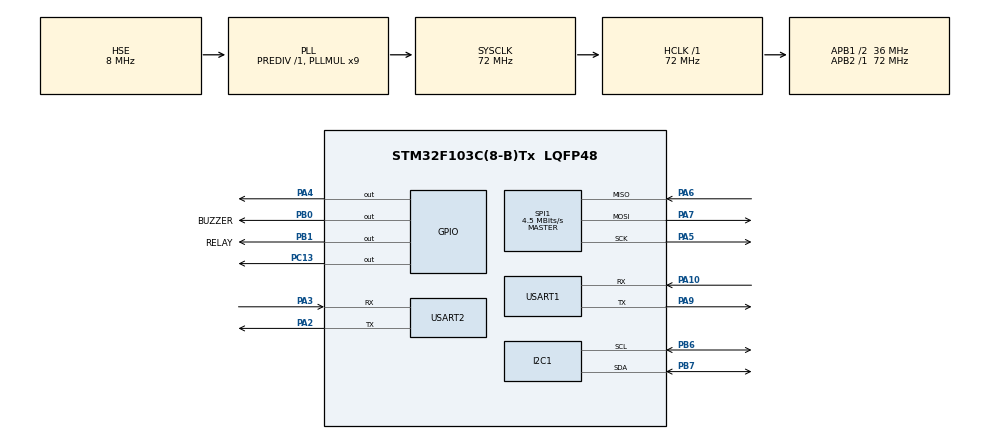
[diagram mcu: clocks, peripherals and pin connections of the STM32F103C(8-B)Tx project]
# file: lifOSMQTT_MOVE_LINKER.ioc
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Mcu.Family=STM32F1
Mcu.Name=STM32F103C(8-B)Tx
Mcu.Package=LQFP48
NVIC.PriorityGroup=NVIC_PRIORITYGROUP_4
NVIC.TIM1_UP_IRQn=true\:0\:0\:false\:false\:true\:true\:true\:true
NVIC.TIM2_IRQn=true\:0\:0\:false\:false\:true\:true\:true\:true
NVIC.USART1_IRQn=true\:0\:0\:false\:false\:true\:true\:true\:true
PA10.Mode=Asynchronous
PA10.Signal=USART1_RX
PA13.Mode=Serial_Wire
PA13.Signal=SYS_JTMS-SWDIO
PA14.Mode=Serial_Wire
PA14.Signal=SYS_JTCK-SWCLK
PA2.Mode=Asynchronous
PA2.Signal=USART2_TX
PA3.Mode=Asynchronous
PA3.Signal=USART2_RX
PA4.Signal=GPIO_Output
PA5.Mode=Full_Duplex_Master
PA5.Signal=SPI1_SCK
PA6.Mode=Full_Duplex_Master
PA6.Signal=SPI1_MISO
PA7.Mode=Full_Duplex_Master
PA7.Signal=SPI1_MOSI
PA9.Mode=Asynchronous
PA9.Signal=USART1_TX
PB0.GPIO_Label=BUZZER
PB0.Signal=GPIO_Output
PB1.GPIO_Label=RELAY
PB1.Signal=GPIO_Output
PB6.Mode=I2C
PB6.Signal=I2C1_SCL
PB7.Mode=I2C
PB7.Signal=I2C1_SDA
PC13-TAMPER-RTC.Signal=GPIO_Output
PD0-OSC_IN.Mode=HSE-External-Oscillator
PD0-OSC_IN.Signal=RCC_OSC_IN
PD1-OSC_OUT.Mode=HSE-External-Oscillator
PD1-OSC_OUT.Signal=RCC_OSC_OUT
ProjectManager.HeapSize=0x200
ProjectManager.StackSize=0x400
ProjectManager.TargetToolchain=STM32CubeIDE
RCC.AHBFreq_Value=72000000
RCC.APB1CLKDivider=RCC_HCLK_DIV2
RCC.APB1Freq_Value=36000000
RCC.APB1TimFreq_Value=72000000
RCC.APB2Freq_Value=72000000
RCC.APB2TimFreq_Value=72000000
RCC.HCLKFreq_Value=72000000
RCC.PLLMUL=RCC_PLL_MUL9
RCC.PLLSourceVirtual=RCC_PLLSOURCE_HSE
RCC.SYSCLKFreq_VALUE=72000000
RCC.SYSCLKSource=RCC_SYSCLKSOURCE_PLLCLK
RCC.USBFreq_Value=72000000
SPI1.BaudRatePrescaler=SPI_BAUDRATEPRESCALER_16
SPI1.CalculateBaudRate=4.5 MBits/s
SPI1.Direction=SPI_DIRECTION_2LINES
SPI1.Mode=SPI_MODE_MASTER
SPI1.VirtualType=VM_MASTER
TIM1.Period=7999
TIM1.Prescaler=719
TIM2.Period=7999
TIM2.Prescaler=7199
USART1.VirtualMode=VM_ASYNC
USART2.VirtualMode=VM_ASYNC
VP_TIM1_VS_ClockSourceINT.Mode=Internal
VP_TIM2_VS_ClockSourceINT.Mode=Internal
board=custom

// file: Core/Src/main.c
/* USER CODE BEGIN Header */
/**
  ******************************************************************************
  * @file           : main.c
  * @brief          : Main program body
  ******************************************************************************
  * @attention
  *
  * Copyright (c) 2023 STMicroelectronics.
  * All rights reserved.
  *
  * This software is licensed under terms that can be found in the LICENSE file
  * in the root directory of this software component.
  * If no LICENSE file comes with this software, it is provided AS-IS.
  *
  ******************************************************************************
  */
/* USER CODE END Header */
#include "main.h"

/* USER CODE BEGIN Includes */
#include "liquidcrystal_i2c.h"
#include "rc522.h"
#include "stdio.h"
#include <string.h>
#include <stdlib.h>
#include "switchSounds.h"
#include "quectelCommands.h"
#include "GEOtextLib.h"
#include "variables.h"
/* USER CODE END Includes */

/* USER CODE BEGIN PTD */
#define versionAdress 0x0800BFF0
#define resetAddress 0x08000000
#define currentTerminalADRR 0x0800B000
#define STR_HELPER(x) #x
#define STR(x) STR_HELPER(x)

unsigned long T,timer, counter;
int check = 1;
int l;
int temp = 0;
int LENGTH = 0;
uint8_t TIM_Count = 0;
uint8_t TIM_Count1 = 0;
uint8_t timeOK = 0;

uint8_t c;
uint8_t readSatus=0;
uint8_t postData[255];
uint8_t *P;
uint8_t data[50];
uint8_t buffer[128];
uint8_t buffer1[128];
uint8_t MQTT_CHECK_DATA[100];
int count = 0;

uint32_t version;
uint64_t terminalID;
char * terminalStr;
/* USER CODE END PTD */

I2C_HandleTypeDef hi2c1;

SPI_HandleTypeDef hspi1;

TIM_HandleTypeDef htim1;
TIM_HandleTypeDef htim2;

UART_HandleTypeDef huart1;
UART_HandleTypeDef huart2;

void SystemClock_Config(void);
static void MX_GPIO_Init(void);
static void MX_I2C1_Init(void);
static void MX_SPI1_Init(void);
static void MX_USART1_UART_Init(void);
static void MX_USART2_UART_Init(void);
static void MX_TIM1_Init(void);
static void MX_TIM2_Init(void);
/* USER CODE BEGIN PFP */
void HAL_UART_RxCpltCallback(UART_HandleTypeDef *huart)
{

	if(count >= 124){
		count = 0;
	}

	if(buffer[count] != '!'){

		count++;
		HAL_UART_Receive_IT(&huart1, &buffer[count], 1);

	}
	else{
		readSatus = 1;
	}

}

void HAL_TIM_PeriodElapsedCallback(TIM_HandleTypeDef *htim)
{
	if (htim->Instance == TIM1) {
		if(TIM_Count>5){
			TIM_Count = 0;
			HAL_TIM_Base_Stop_IT(&htim1);

		}
		else{
			HAL_GPIO_TogglePin(BUZZER_GPIO_Port, BUZZER_Pin);
			TIM_Count++;
		}

	}
//	if (htim->Instance == TIM2) {
//		if(TIM_Count1>1){
//			TIM_Count1 = 0;
//			HAL_TIM_Base_Stop_IT(&htim2);
//
//		}
//		else{
//			HAL_GPIO_TogglePin(RELAY_GPIO_Port, RELAY_Pin);
//			TIM_Count1++;
//		}
//
//	}

}

void reloadSoundTIM(){
	TIM_Count = 0;
	HAL_TIM_Base_Start_IT(&htim1);
}
void reloadRelayTIM(){
	TIM_Count1 = 0;
	HAL_TIM_Base_Start_IT(&htim2);
}
/* USER CODE END PFP */

/* USER CODE BEGIN 0 */
uint8_t MFRC522_Check(uint8_t *id);
uint8_t MFRC522_Compare(uint8_t *CardID, uint8_t *CompareID);
void MFRC522_WriteRegister(uint8_t addr, uint8_t val);
uint8_t MFRC522_ReadRegister(uint8_t addr);
void MFRC522_SetBitMask(uint8_t reg, uint8_t mask);
void MFRC522_ClearBitMask(uint8_t reg, uint8_t mask);
uint8_t MFRC522_Request(uint8_t reqMode, uint8_t *TagType);
uint8_t MFRC522_ToCard(uint8_t command, uint8_t *sendData, uint8_t sendLen,
		uint8_t *backData, uint16_t *backLen);
uint8_t MFRC522_Anticoll(uint8_t *serNum);
void MFRC522_CalulateCRC(uint8_t *pIndata, uint8_t len, uint8_t *pOutData);
uint8_t MFRC522_SelectTag(uint8_t *serNum);
uint8_t MFRC522_Auth(uint8_t authMode, uint8_t BlockAddr, uint8_t *Sectorkey,
		uint8_t *serNum);
uint8_t MFRC522_Read(uint8_t blockAddr, uint8_t *recvData);
uint8_t MFRC522_Write(uint8_t blockAddr, uint8_t *writeData);
void MFRC522_Init(void);
void MFRC522_Reset(void);
void MFRC522_AntennaOn(void);
void MFRC522_AntennaOff(void);
void MFRC522_Halt(void);
void cardOperation(uint8_t* finalData, uint8_t* p);
void led(uint8_t n);
void readCardData(uint8_t* finalData);
uint8_t cardOperationWithBlockedSector(uint8_t* finalData);

/* USER CODE END 0 */

int main(void)
{
  /* USER CODE BEGIN 1 */
	__disable_irq();
	SCB->VTOR = 0x800C000;
	__enable_irq();
  /* USER CODE END 1 */

  /* MCU Configuration--------------------------------------------------------*/

  /* Reset of all peripherals, Initializes the Flash interface and the Systick. */
  HAL_Init();

  /* Configure the system clock */
  SystemClock_Config();

  /* Initialize all configured peripherals */
  MX_GPIO_Init();
  MX_I2C1_Init();
  MX_SPI1_Init();
  MX_USART1_UART_Init();
  MX_USART2_UART_Init();
  MX_TIM1_Init();
  MX_TIM2_Init();
  /* USER CODE BEGIN 2 */
  HD44780_Init(2);

  MFRC522_Init();

	uint8_t cardRead = 0;
	int CardTime;

    version = *(__IO uint32_t *)versionAdress; // for version check
  	terminalID = *(uint64_t *)currentTerminalADRR;
  	terminalStr = convertNumberToCharArray(terminalID);

    sprintf((char*) MQTT_CHECK_DATA, "{\"operationType\":\"check\",\"content\":{\"terminalID\":\"%s\",\"firmwareVersion\":%ld}}",terminalStr, version);

  	HAL_UART_Receive_IT(&huart1, &buffer[count], 1);
  	T = HAL_GetTick();
  	 printMiadetBarati(0, 2);
  	 led(1);
  /* USER CODE END 2 */

  /* Infinite loop */
  /* USER CODE BEGIN WHILE */
  while (1)
  {
	  if(cardRead == 1){
		  if(HAL_GetTick() - CardTime >= 20000){
			  printShecdoma(0, 4);
			  HAL_Delay(3000);
			  printMiadetBarati(0, 2);
			  cardRead = 0;

		  }

	  }
	  if(HAL_GetTick() - counter >= 1000){
		  HAL_GPIO_WritePin(RELAY_GPIO_Port, RELAY_Pin, 0);
	  }
	  if(HAL_GetTick() - T >= 2*(60000) && cardRead == 0){

		  if(temp >= check)jumpToAddress(resetAddress); //restart
		  MQTTPubToTopic(strlen((char*)MQTT_CHECK_DATA));
		  HAL_UART_Transmit(&huart1, MQTT_CHECK_DATA, strlen((char*)MQTT_CHECK_DATA), 50);
		  T = HAL_GetTick();
		  temp = check;
	  }

	  if(readSatus){
		  int Status = takeStatus(buffer, count);
		  uint8_t dispData[50];

		  switch(Status){
		  	  	case 202:
		  	  		//HAL_GPIO_TogglePin(GPIOB, RELAY_Pin);
		  	  		//AppruveSound();
		  	  	    HAL_GPIO_WritePin(RELAY_GPIO_Port, RELAY_Pin, 1);

		  	  	    counter = HAL_GetTick();

		  	  	    HAL_TIM_Base_Start_IT(&htim1);
		  	  	    prinWarmateba(0, 3);
		  	  		insert(postData);
		  	  		LENGTH = strlen((char*)postData);
					MQTTPubToTopic(LENGTH);
					HAL_Delay(50);
					HAL_UART_Transmit(&huart1, postData, LENGTH, 10);
		  	  		break;
		  	  	case 200:
		  	  		//AppruveSound();
		  	  		check++;
		  	  		break;
		  	  	case 201:
		  	  		//HAL_GPIO_TogglePin(GPIOB, RELAY_Pin);

					takeData(buffer, count, dispData);
					printBalansi(0, 0);
					HD44780_PrintStr((char*) dispData);
					HAL_Delay(1000);
					HAL_GPIO_WritePin(RELAY_GPIO_Port, RELAY_Pin, 0);
					HAL_Delay(1000);
					printMiadetBarati(0, 2);
					cardRead = 0;
					memset(postData, 0, sizeof(postData));
					break;
				case 293:

					//takeData(buffer, count, dispData);
					HD44780_Clear();
					HD44780_SetCursor(0, 0);
					printUcxoBaratia(0,0);
					ErrorSound();
					HAL_Delay(1000);
					printMiadetBarati(0, 2);
					cardRead = 0;
					break;
				case 291:
					//takeData(buffer, count, dispData);
					HD44780_Clear();
					HD44780_SetCursor(0, 0);
					printBlansiAraa(0, 0);
					ErrorSound();
					HAL_Delay(1000);
					printMiadetBarati(0, 2);
					cardRead = 0;
					break;
				case 296:
					//takeData(buffer, count, dispData);
					HD44780_Clear();
					HD44780_SetCursor(0, 0);
					HD44780_PrintStr((char*) dispData);
					ErrorSound();
					HAL_Delay(3000);
					printMiadetBarati(0, 2);
					cardRead = 0;
					break;
				case 297:
					//takeData(buffer, count, dispData);
					HD44780_Clear();
					HD44780_SetCursor(0, 0);
					HD44780_PrintStr((char*) dispData);
					ErrorSound();
					HAL_Delay(3000);
					printMiadetBarati(0, 2);
					cardRead = 0;
					break;
				case 299:
					//takeData(buffer, count, dispData);
					HD44780_Clear();
					HD44780_SetCursor(0, 0);
					HD44780_PrintStr((char*) dispData);
					ErrorSound();
					HAL_Delay(3000);
					printMiadetBarati(0, 2);
					cardRead = 0;
					break;
				default:
					memset(buffer, 0, sizeof(buffer));
				    memset(dispData, 0, sizeof(dispData));
					readSatus = 0;
					count = 0;
					printMiadetBarati(0, 2);
					cardRead = 0;

		  }
		  memset(buffer, 0, sizeof(buffer));
		  memset(dispData, 0, sizeof(dispData));
		  readSatus = 0;
		  count = 0;
		  HAL_UART_Receive_IT(&huart1, &buffer[count], 1);
		 }

	 uint8_t catStat = cardOperationWithBlockedSector(postData);
	 if(catStat == 1 && cardRead == 0){
		 uint8_t bpundCount = 0;
		 uint8_t postEnable = 0;

		 LENGTH = strlen((char*)postData);

		 for(int i = 0; i< LENGTH+5; i++){

			 if(postData[i]== '{' || postData[i] == '}'){
				 bpundCount++;
			 }

		 }
		 if(bpundCount != 4){
		 	postEnable = 1;
		 	memset(postData, 0, sizeof(postData));
		  }

		 if(postEnable == 0){
			 CardReadSound();
			 printDaicadet(0, 3);
			 MQTTPubToTopic(LENGTH);
			 HAL_Delay(50);

			 HAL_UART_Transmit(&huart1, postData, LENGTH, 100);

			 cardRead = 1;
			 CardTime = HAL_GetTick();
		 }
		 //memset(buffer, 0, sizeof(buffer));
	 }

    /* USER CODE END WHILE */

  }
}

void SystemClock_Config(void)
{
  RCC_OscInitTypeDef RCC_OscInitStruct = {0};
  RCC_ClkInitTypeDef RCC_ClkInitStruct = {0};

  /** Initializes the RCC Oscillators according to the specified parameters
  * in the RCC_OscInitTypeDef structure.
  */
  RCC_OscInitStruct.OscillatorType = RCC_OSCILLATORTYPE_HSE;
  RCC_OscInitStruct.HSEState = RCC_HSE_ON;
  RCC_OscInitStruct.HSEPredivValue = RCC_HSE_PREDIV_DIV1;
  RCC_OscInitStruct.HSIState = RCC_HSI_ON;
  RCC_OscInitStruct.PLL.PLLState = RCC_PLL_ON;
  RCC_OscInitStruct.PLL.PLLSource = RCC_PLLSOURCE_HSE;
  RCC_OscInitStruct.PLL.PLLMUL = RCC_PLL_MUL9;
  if (HAL_RCC_OscConfig(&RCC_OscInitStruct) != HAL_OK)
  {
    Error_Handler();
  }

  /** Initializes the CPU, AHB and APB buses clocks
  */
  RCC_ClkInitStruct.ClockType = RCC_CLOCKTYPE_HCLK|RCC_CLOCKTYPE_SYSCLK
                              |RCC_CLOCKTYPE_PCLK1|RCC_CLOCKTYPE_PCLK2;
  RCC_ClkInitStruct.SYSCLKSource = RCC_SYSCLKSOURCE_PLLCLK;
  RCC_ClkInitStruct.AHBCLKDivider = RCC_SYSCLK_DIV1;
  RCC_ClkInitStruct.APB1CLKDivider = RCC_HCLK_DIV2;
  RCC_ClkInitStruct.APB2CLKDivider = RCC_HCLK_DIV1;

  if (HAL_RCC_ClockConfig(&RCC_ClkInitStruct, FLASH_LATENCY_2) != HAL_OK)
  {
    Error_Handler();
  }
}

static void MX_I2C1_Init(void)
{

  hi2c1.Instance = I2C1;
  hi2c1.Init.ClockSpeed = 100000;
  hi2c1.Init.DutyCycle = I2C_DUTYCYCLE_2;
  hi2c1.Init.OwnAddress1 = 0;
  hi2c1.Init.AddressingMode = I2C_ADDRESSINGMODE_7BIT;
  hi2c1.Init.DualAddressMode = I2C_DUALADDRESS_DISABLE;
  hi2c1.Init.OwnAddress2 = 0;
  hi2c1.Init.GeneralCallMode = I2C_GENERALCALL_DISABLE;
  hi2c1.Init.NoStretchMode = I2C_NOSTRETCH_DISABLE;
  if (HAL_I2C_Init(&hi2c1) != HAL_OK)
  {
    Error_Handler();
  }

}

static void MX_SPI1_Init(void)
{

  /* SPI1 parameter configuration*/
  hspi1.Instance = SPI1;
  hspi1.Init.Mode = SPI_MODE_MASTER;
  hspi1.Init.Direction = SPI_DIRECTION_2LINES;
  hspi1.Init.DataSize = SPI_DATASIZE_8BIT;
  hspi1.Init.CLKPolarity = SPI_POLARITY_LOW;
  hspi1.Init.CLKPhase = SPI_PHASE_1EDGE;
  hspi1.Init.NSS = SPI_NSS_SOFT;
  hspi1.Init.BaudRatePrescaler = SPI_BAUDRATEPRESCALER_16;
  hspi1.Init.FirstBit = SPI_FIRSTBIT_MSB;
  hspi1.Init.TIMode = SPI_TIMODE_DISABLE;
  hspi1.Init.CRCCalculation = SPI_CRCCALCULATION_DISABLE;
  hspi1.Init.CRCPolynomial = 10;
  if (HAL_SPI_Init(&hspi1) != HAL_OK)
  {
    Error_Handler();
  }

}

static void MX_TIM1_Init(void)
{

  TIM_ClockConfigTypeDef sClockSourceConfig = {0};
  TIM_MasterConfigTypeDef sMasterConfig = {0};

  htim1.Instance = TIM1;
  htim1.Init.Prescaler = 719;
  htim1.Init.CounterMode = TIM_COUNTERMODE_UP;
  htim1.Init.Period = 7999;
  htim1.Init.ClockDivision = TIM_CLOCKDIVISION_DIV1;
  htim1.Init.RepetitionCounter = 0;
  htim1.Init.AutoReloadPreload = TIM_AUTORELOAD_PRELOAD_DISABLE;
  if (HAL_TIM_Base_Init(&htim1) != HAL_OK)
  {
    Error_Handler();
  }
  sClockSourceConfig.ClockSource = TIM_CLOCKSOURCE_INTERNAL;
  if (HAL_TIM_ConfigClockSource(&htim1, &sClockSourceConfig) != HAL_OK)
  {
    Error_Handler();
  }
  sMasterConfig.MasterOutputTrigger = TIM_TRGO_RESET;
  sMasterConfig.MasterSlaveMode = TIM_MASTERSLAVEMODE_DISABLE;
  if (HAL_TIMEx_MasterConfigSynchronization(&htim1, &sMasterConfig) != HAL_OK)
  {
    Error_Handler();
  }

}

static void MX_TIM2_Init(void)
{

  TIM_ClockConfigTypeDef sClockSourceConfig = {0};
  TIM_MasterConfigTypeDef sMasterConfig = {0};

  htim2.Instance = TIM2;
  htim2.Init.Prescaler = 7199;
  htim2.Init.CounterMode = TIM_COUNTERMODE_UP;
  htim2.Init.Period = 7999;
  htim2.Init.ClockDivision = TIM_CLOCKDIVISION_DIV1;
  htim2.Init.AutoReloadPreload = TIM_AUTORELOAD_PRELOAD_DISABLE;
  if (HAL_TIM_Base_Init(&htim2) != HAL_OK)
  {
    Error_Handler();
  }
  sClockSourceConfig.ClockSource = TIM_CLOCKSOURCE_INTERNAL;
  if (HAL_TIM_ConfigClockSource(&htim2, &sClockSourceConfig) != HAL_OK)
  {
    Error_Handler();
  }
  sMasterConfig.MasterOutputTrigger = TIM_TRGO_RESET;
  sMasterConfig.MasterSlaveMode = TIM_MASTERSLAVEMODE_DISABLE;
  if (HAL_TIMEx_MasterConfigSynchronization(&htim2, &sMasterConfig) != HAL_OK)
  {
    Error_Handler();
  }

}

static void MX_USART1_UART_Init(void)
{

  huart1.Instance = USART1;
  huart1.Init.BaudRate = 115200;
  huart1.Init.WordLength = UART_WORDLENGTH_8B;
  huart1.Init.StopBits = UART_STOPBITS_1;
  huart1.Init.Parity = UART_PARITY_NONE;
  huart1.Init.Mode = UART_MODE_TX_RX;
  huart1.Init.HwFlowCtl = UART_HWCONTROL_NONE;
  huart1.Init.OverSampling = UART_OVERSAMPLING_16;
  if (HAL_UART_Init(&huart1) != HAL_OK)
  {
    Error_Handler();
  }

}

static void MX_USART2_UART_Init(void)
{

  huart2.Instance = USART2;
  huart2.Init.BaudRate = 115200;
  huart2.Init.WordLength = UART_WORDLENGTH_8B;
  huart2.Init.StopBits = UART_STOPBITS_1;
  huart2.Init.Parity = UART_PARITY_NONE;
  huart2.Init.Mode = UART_MODE_TX_RX;
  huart2.Init.HwFlowCtl = UART_HWCONTROL_NONE;
  huart2.Init.OverSampling = UART_OVERSAMPLING_16;
  if (HAL_UART_Init(&huart2) != HAL_OK)
  {
    Error_Handler();
  }

}

static void MX_GPIO_Init(void)
{
  GPIO_InitTypeDef GPIO_InitStruct = {0};

  /* GPIO Ports Clock Enable */
  __HAL_RCC_GPIOC_CLK_ENABLE();
  __HAL_RCC_GPIOD_CLK_ENABLE();
  __HAL_RCC_GPIOA_CLK_ENABLE();
  __HAL_RCC_GPIOB_CLK_ENABLE();

  /*Configure GPIO pin Output Level */
  HAL_GPIO_WritePin(GPIOC, GPIO_PIN_13, GPIO_PIN_RESET);

  /*Configure GPIO pin Output Level */
  HAL_GPIO_WritePin(GPIOA, GPIO_PIN_4, GPIO_PIN_RESET);

  /*Configure GPIO pin Output Level */
  HAL_GPIO_WritePin(GPIOB, BUZZER_Pin|RELAY_Pin, GPIO_PIN_RESET);

  /*Configure GPIO pin : PC13 */
  GPIO_InitStruct.Pin = GPIO_PIN_13;
  GPIO_InitStruct.Mode = GPIO_MODE_OUTPUT_PP;
  GPIO_InitStruct.Pull = GPIO_NOPULL;
  GPIO_InitStruct.Speed = GPIO_SPEED_FREQ_LOW;
  HAL_GPIO_Init(GPIOC, &GPIO_InitStruct);

  /*Configure GPIO pin : PA4 */
  GPIO_InitStruct.Pin = GPIO_PIN_4;
  GPIO_InitStruct.Mode = GPIO_MODE_OUTPUT_PP;
  GPIO_InitStruct.Pull = GPIO_NOPULL;
  GPIO_InitStruct.Speed = GPIO_SPEED_FREQ_LOW;
  HAL_GPIO_Init(GPIOA, &GPIO_InitStruct);

  /*Configure GPIO pins : BUZZER_Pin RELAY_Pin */
  GPIO_InitStruct.Pin = BUZZER_Pin|RELAY_Pin;
  GPIO_InitStruct.Mode = GPIO_MODE_OUTPUT_PP;
  GPIO_InitStruct.Pull = GPIO_NOPULL;
  GPIO_InitStruct.Speed = GPIO_SPEED_FREQ_LOW;
  HAL_GPIO_Init(GPIOB, &GPIO_InitStruct);

}

void Error_Handler(void)
{
  __disable_irq();
  while (1)
  {
  }
}
